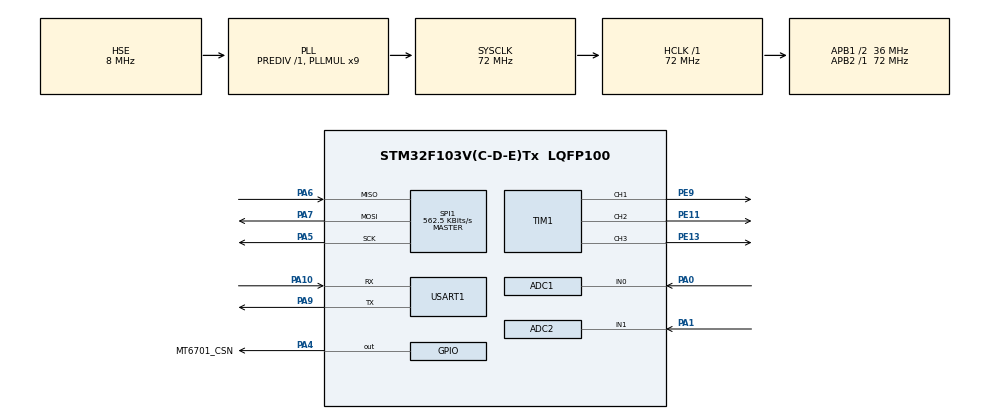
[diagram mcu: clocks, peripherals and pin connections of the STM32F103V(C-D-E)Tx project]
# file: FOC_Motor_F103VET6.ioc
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ADC1.Channel-1\#ChannelInjectedConversion=ADC_CHANNEL_0
ADC1.ContinuousConvMode=ENABLE
ADC1.EnableInjectedConversion=ENABLE
ADC1.EnableRegularConversion=DISABLE
ADC1.ExternalTrigInjecConv=ADC_EXTERNALTRIGINJECCONV_T1_TRGO
ADC1.InjNumberOfConversion=1
ADC1.InjectedOffset-1\#ChannelInjectedConversion=0
ADC1.InjectedRank-1\#ChannelInjectedConversion=1
ADC1.Mode=ADC_DUALMODE_INJECSIMULT
ADC1.SamplingTime-1\#ChannelInjectedConversion=ADC_SAMPLETIME_13CYCLES_5
ADC1.master=1
ADC2.Channel-1\#ChannelInjectedConversion=ADC_CHANNEL_1
ADC2.ContinuousConvMode=ENABLE
ADC2.EnableInjectedConversion=ENABLE
ADC2.EnableRegularConversion=DISABLE
ADC2.InjNumberOfConversion=1
ADC2.InjectedOffset-1\#ChannelInjectedConversion=0
ADC2.InjectedRank-1\#ChannelInjectedConversion=1
ADC2.Mode=ADC_DUALMODE_INJECSIMULT
ADC2.SamplingTime-1\#ChannelInjectedConversion=ADC_SAMPLETIME_13CYCLES_5
Dma.Request0=USART1_RX
Dma.Request1=USART1_TX
Dma.Request2=SPI1_RX
Dma.Request3=SPI1_TX
Dma.SPI1_RX.2.Direction=DMA_PERIPH_TO_MEMORY
Dma.SPI1_RX.2.Instance=DMA1_Channel2
Dma.SPI1_RX.2.MemDataAlignment=DMA_MDATAALIGN_BYTE
Dma.SPI1_RX.2.MemInc=DMA_MINC_ENABLE
Dma.SPI1_RX.2.Mode=DMA_NORMAL
Dma.SPI1_RX.2.PeriphDataAlignment=DMA_PDATAALIGN_BYTE
Dma.SPI1_RX.2.PeriphInc=DMA_PINC_DISABLE
Dma.SPI1_RX.2.Priority=DMA_PRIORITY_HIGH
Dma.SPI1_TX.3.Direction=DMA_MEMORY_TO_PERIPH
Dma.SPI1_TX.3.Instance=DMA1_Channel3
Dma.SPI1_TX.3.MemDataAlignment=DMA_MDATAALIGN_BYTE
Dma.SPI1_TX.3.MemInc=DMA_MINC_ENABLE
Dma.SPI1_TX.3.Mode=DMA_NORMAL
Dma.SPI1_TX.3.PeriphDataAlignment=DMA_PDATAALIGN_BYTE
Dma.SPI1_TX.3.PeriphInc=DMA_PINC_DISABLE
Dma.SPI1_TX.3.Priority=DMA_PRIORITY_HIGH
Dma.USART1_RX.0.Direction=DMA_PERIPH_TO_MEMORY
Dma.USART1_RX.0.Instance=DMA1_Channel5
Dma.USART1_RX.0.MemDataAlignment=DMA_MDATAALIGN_BYTE
Dma.USART1_RX.0.MemInc=DMA_MINC_ENABLE
Dma.USART1_RX.0.Mode=DMA_NORMAL
Dma.USART1_RX.0.PeriphDataAlignment=DMA_PDATAALIGN_BYTE
Dma.USART1_RX.0.PeriphInc=DMA_PINC_DISABLE
Dma.USART1_RX.0.Priority=DMA_PRIORITY_MEDIUM
Dma.USART1_TX.1.Direction=DMA_MEMORY_TO_PERIPH
Dma.USART1_TX.1.Instance=DMA1_Channel4
Dma.USART1_TX.1.MemDataAlignment=DMA_MDATAALIGN_BYTE
Dma.USART1_TX.1.MemInc=DMA_MINC_ENABLE
Dma.USART1_TX.1.Mode=DMA_NORMAL
Dma.USART1_TX.1.PeriphDataAlignment=DMA_PDATAALIGN_BYTE
Dma.USART1_TX.1.PeriphInc=DMA_PINC_DISABLE
Dma.USART1_TX.1.Priority=DMA_PRIORITY_MEDIUM
Mcu.Family=STM32F1
Mcu.Name=STM32F103V(C-D-E)Tx
Mcu.Package=LQFP100
Mcu.UserConstants=motor_speed_calc_freq,100;motor_pwm_freq,20000
NVIC.ADC1_2_IRQn=true\:1\:0\:true\:false\:true\:true\:true\:true
NVIC.DMA1_Channel2_IRQn=true\:0\:0\:false\:false\:true\:false\:true\:true
NVIC.DMA1_Channel3_IRQn=true\:0\:0\:false\:false\:true\:false\:true\:true
NVIC.DMA1_Channel4_IRQn=true\:0\:0\:false\:false\:true\:false\:true\:true
NVIC.DMA1_Channel5_IRQn=true\:0\:0\:false\:false\:true\:false\:true\:true
NVIC.PriorityGroup=NVIC_PRIORITYGROUP_4
NVIC.TIM3_IRQn=true\:1\:0\:true\:false\:true\:true\:true\:true
NVIC.USART1_IRQn=true\:2\:0\:true\:false\:true\:true\:true\:true
OSC_IN.Mode=HSE-External-Oscillator
OSC_IN.Signal=RCC_OSC_IN
OSC_OUT.Mode=HSE-External-Oscillator
OSC_OUT.Signal=RCC_OSC_OUT
PA0-WKUP.Signal=ADCx_IN0
PA1.Signal=ADCx_IN1
PA10.Mode=Asynchronous
PA10.Signal=USART1_RX
PA13.Mode=Serial_Wire
PA13.Signal=SYS_JTMS-SWDIO
PA14.Mode=Serial_Wire
PA14.Signal=SYS_JTCK-SWCLK
PA4.GPIO_Label=MT6701_CSN
PA4.Signal=GPIO_Output
PA5.Mode=Full_Duplex_Master
PA5.Signal=SPI1_SCK
PA6.Mode=Full_Duplex_Master
PA6.Signal=SPI1_MISO
PA7.Mode=Full_Duplex_Master
PA7.Signal=SPI1_MOSI
PA9.Mode=Asynchronous
PA9.Signal=USART1_TX
PE11.Signal=S_TIM1_CH2
PE13.Signal=S_TIM1_CH3
PE9.Signal=S_TIM1_CH1
ProjectManager.HeapSize=0x200
ProjectManager.StackSize=0x400
ProjectManager.TargetToolchain=MDK-ARM V5
RCC.ADCPresc=RCC_ADCPCLK2_DIV6
RCC.AHBFreq_Value=72000000
RCC.APB1CLKDivider=RCC_HCLK_DIV2
RCC.APB1Freq_Value=36000000
RCC.APB1TimFreq_Value=72000000
RCC.APB2Freq_Value=72000000
RCC.APB2TimFreq_Value=72000000
RCC.HCLKFreq_Value=72000000
RCC.PLLMUL=RCC_PLL_MUL9
RCC.PLLSourceVirtual=RCC_PLLSOURCE_HSE
RCC.SYSCLKFreq_VALUE=72000000
RCC.SYSCLKSource=RCC_SYSCLKSOURCE_PLLCLK
RCC.USBFreq_Value=72000000
SH.ADCx_IN0.0=ADC1_IN0,IN0
SH.ADCx_IN1.0=ADC2_IN1,IN1
SH.S_TIM1_CH1.0=TIM1_CH1,PWM Generation1 CH1
SH.S_TIM1_CH2.0=TIM1_CH2,PWM Generation2 CH2
SH.S_TIM1_CH3.0=TIM1_CH3,PWM Generation3 CH3
SPI1.BaudRatePrescaler=SPI_BAUDRATEPRESCALER_128
SPI1.CLKPhase=SPI_PHASE_2EDGE
SPI1.CalculateBaudRate=562.5 KBits/s
SPI1.Direction=SPI_DIRECTION_2LINES
SPI1.Mode=SPI_MODE_MASTER
SPI1.VirtualType=VM_MASTER
STMicroelectronics.X-CUBE-ALGOBUILD.1.4.0.LibraryCcDSPOoLibraryJjDSPOoLibrary=true
TIM1.AutoReloadPreload=TIM_AUTORELOAD_PRELOAD_ENABLE
TIM1.BreakPolarity=TIM_BREAKPOLARITY_LOW
TIM1.Channel-PWM\ Generation1\ CH1=TIM_CHANNEL_1
TIM1.Channel-PWM\ Generation2\ CH2=TIM_CHANNEL_2
TIM1.Channel-PWM\ Generation3\ CH3=TIM_CHANNEL_3
TIM1.CounterMode=TIM_COUNTERMODE_CENTERALIGNED3
TIM1.LockLevel=TIM_LOCKLEVEL_1
TIM1.Period=72000000/motor_pwm_freq
TIM1.RepetitionCounter=4
TIM1.TIM_MasterOutputTrigger=TIM_TRGO_UPDATE
TIM3.Period=1000000/motor_speed_calc_freq
TIM3.Prescaler=72-1
USART1.VirtualMode=VM_ASYNC
VP_STMicroelectronics.X-CUBE-ALGOBUILD_VS_DSPOoLibraryJjLibrary_1.4.0_1.4.0.Mode=DSPOoLibraryJjLibrary
VP_TIM1_VS_ClockSourceINT.Mode=Internal
VP_TIM3_VS_ClockSourceINT.Mode=Internal
board=custom

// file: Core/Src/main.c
/* USER CODE BEGIN Header */
/**
 ******************************************************************************
 * @file           : main.c
 * @brief          : Main program body
 ******************************************************************************
 * @attention
 *
 * Copyright (c) 2025 STMicroelectronics.
 * All rights reserved.
 *
 * This software is licensed under terms that can be found in the LICENSE file
 * in the root directory of this software component.
 * If no LICENSE file comes with this software, it is provided AS-IS.
 *
 ******************************************************************************
 */
/* USER CODE END Header */
#include "main.h"
#include "adc.h"
#include "dma.h"
#include "spi.h"
#include "tim.h"
#include "usart.h"
#include "gpio.h"

/* USER CODE BEGIN Includes */
#include "stdio.h"
#include "global_def.h"
#include "foc.h"
#include "motor_runtime_param.h"
/* USER CODE END Includes */

/* USER CODE BEGIN PTD */
struct Frame
{
  float fdata[3];
  uint8_t tail[4];
};
/* USER CODE END PTD */

void SystemClock_Config(void);

/* USER CODE BEGIN 0 */

void set_pwm_duty(float d_u, float d_v, float d_w)
{
  d_u = min(d_u, 0.9);
  d_v = min(d_v, 0.9);
  d_w = min(d_w, 0.9);
  __disable_irq();
  __HAL_TIM_SET_COMPARE(&htim1, TIM_CHANNEL_1, d_u * htim1.Instance->ARR);
  __HAL_TIM_SET_COMPARE(&htim1, TIM_CHANNEL_2, d_v * htim1.Instance->ARR);
  __HAL_TIM_SET_COMPARE(&htim1, TIM_CHANNEL_3, d_w * htim1.Instance->ARR);
  __enable_irq();
}

/* USER CODE END 0 */

int main(void)
{

  /* MCU Configuration--------------------------------------------------------*/

  /* Reset of all peripherals, Initializes the Flash interface and the Systick. */
  HAL_Init();

  /* Configure the system clock */
  SystemClock_Config();

  /* Initialize all configured peripherals */
  MX_GPIO_Init();
  MX_DMA_Init();
  MX_USART1_UART_Init();
  MX_ADC1_Init();
  MX_ADC2_Init();
  MX_SPI1_Init();
  MX_TIM1_Init();
  MX_TIM3_Init();
  /* USER CODE BEGIN 2 */
  set_motor_pid(0, 0, 0,
                0, 0, 0,
                0, 0, 0,
                0, 0, 0);

  extern uint8_t mt6701_rx_data[3];
  HAL_GPIO_WritePin(GPIOA, GPIO_PIN_4, GPIO_PIN_RESET);
  HAL_SPI_TransmitReceive_DMA(&hspi1, mt6701_rx_data, mt6701_rx_data, 3);
  HAL_Delay(100); // 延时一会，让角度变量被赋值，不然角度会是0

  HAL_TIM_PWM_Start(&htim1, TIM_CHANNEL_1);
  HAL_TIM_PWM_Start(&htim1, TIM_CHANNEL_2);
  HAL_TIM_PWM_Start(&htim1, TIM_CHANNEL_3);

  HAL_TIM_Base_Start_IT(&htim3);

  HAL_ADCEx_Calibration_Start(&hadc1);
  HAL_ADCEx_Calibration_Start(&hadc2);
  HAL_ADCEx_InjectedStart_IT(&hadc1);
  HAL_ADCEx_InjectedStart(&hadc2);

  set_pwm_duty(0.5, 0.0, 0.0); // d轴强锁
  HAL_Delay(400);
  rotor_zero_angle = encoder_angle; // 记录转子零点位置 (记录电机转子磁场角度为0时 编码器的角度，以后计算转子磁场角度时 减去这刻的编码器角度 再×极对数)
  set_pwm_duty(0.0, 0.0, 0.0);
  HAL_Delay(100);

  /* USER CODE END 2 */

  /* Infinite loop */
  /* USER CODE BEGIN WHILE */

  struct Frame frame = {
      .tail = {0x00, 0x00, 0x80, 0x7f}};

  // CoreDebug->DEMCR |= CoreDebug_DEMCR_TRCENA_Msk; // 允许DWT访问
  // DWT->CYCCNT = 0;                                // 清零
  // DWT->CTRL |= DWT_CTRL_CYCCNTENA_Msk;            // ✅ 启动计数器

  // uint32_t start = DWT->CYCCNT;
  // for (int i = 0; i < 3600; i++)
  // {
  //   svpwm(deg2rad(i), 0.6, 0.6, &frame.fdata[0], &frame.fdata[1], &frame.fdata[2]);
  // }
  // uint32_t elapsed = DWT->CYCCNT - start;
  // float time_us = elapsed / (SystemCoreClock / 1e6f)/3600.0f;
  // printf("Time taken for 36000 svpwm calls: %f us\r\n", time_us);

  while (1)
  {
    /* USER CODE END WHILE */

  }
}

void SystemClock_Config(void)
{
  RCC_OscInitTypeDef RCC_OscInitStruct = {0};
  RCC_ClkInitTypeDef RCC_ClkInitStruct = {0};
  RCC_PeriphCLKInitTypeDef PeriphClkInit = {0};

  /** Initializes the RCC Oscillators according to the specified parameters
  * in the RCC_OscInitTypeDef structure.
  */
  RCC_OscInitStruct.OscillatorType = RCC_OSCILLATORTYPE_HSE;
  RCC_OscInitStruct.HSEState = RCC_HSE_ON;
  RCC_OscInitStruct.HSEPredivValue = RCC_HSE_PREDIV_DIV1;
  RCC_OscInitStruct.HSIState = RCC_HSI_ON;
  RCC_OscInitStruct.PLL.PLLState = RCC_PLL_ON;
  RCC_OscInitStruct.PLL.PLLSource = RCC_PLLSOURCE_HSE;
  RCC_OscInitStruct.PLL.PLLMUL = RCC_PLL_MUL9;
  if (HAL_RCC_OscConfig(&RCC_OscInitStruct) != HAL_OK)
  {
    Error_Handler();
  }

  /** Initializes the CPU, AHB and APB buses clocks
  */
  RCC_ClkInitStruct.ClockType = RCC_CLOCKTYPE_HCLK|RCC_CLOCKTYPE_SYSCLK
                              |RCC_CLOCKTYPE_PCLK1|RCC_CLOCKTYPE_PCLK2;
  RCC_ClkInitStruct.SYSCLKSource = RCC_SYSCLKSOURCE_PLLCLK;
  RCC_ClkInitStruct.AHBCLKDivider = RCC_SYSCLK_DIV1;
  RCC_ClkInitStruct.APB1CLKDivider = RCC_HCLK_DIV2;
  RCC_ClkInitStruct.APB2CLKDivider = RCC_HCLK_DIV1;

  if (HAL_RCC_ClockConfig(&RCC_ClkInitStruct, FLASH_LATENCY_2) != HAL_OK)
  {
    Error_Handler();
  }
  PeriphClkInit.PeriphClockSelection = RCC_PERIPHCLK_ADC;
  PeriphClkInit.AdcClockSelection = RCC_ADCPCLK2_DIV6;
  if (HAL_RCCEx_PeriphCLKConfig(&PeriphClkInit) != HAL_OK)
  {
    Error_Handler();
  }
}

void Error_Handler(void)
{
  __disable_irq();
  while (1)
  {
  }
}
